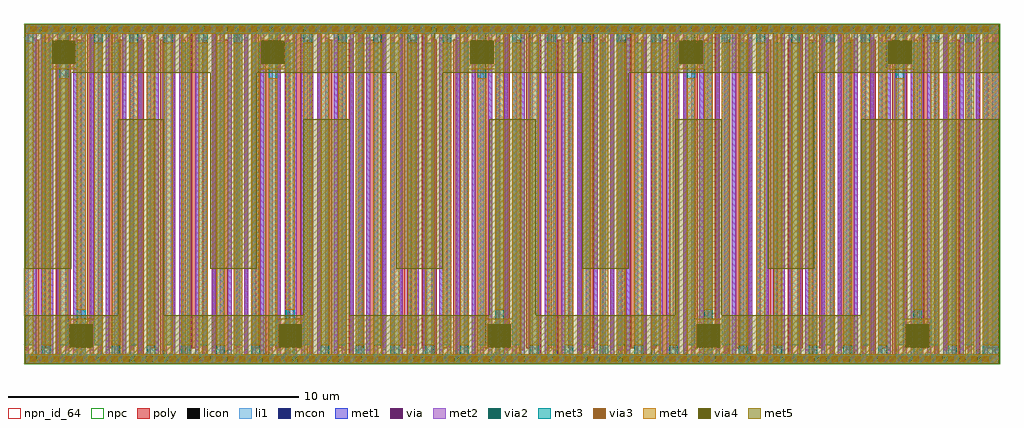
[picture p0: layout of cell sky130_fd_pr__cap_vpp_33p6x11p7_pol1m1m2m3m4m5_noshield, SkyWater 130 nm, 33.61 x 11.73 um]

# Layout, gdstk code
import gdstk
lib = gdstk.Library(unit=1e-6, precision=1e-09)
def R(c, l, rs):  # rectangles x0, y0, x1, y1
    for r in rs: c.add(gdstk.rectangle(r[:2], r[2:], *l))
def A(c, l, x, y, w, h, nx, ny, dx, dy):  # array of equal rectangles
    R(c, l, [(x+i*dx, y+j*dy, x+i*dx+w, y+j*dy+h) for i in range(nx) for j in range(ny)])
poly = (66, 20)
licon = (66, 44)
li1 = (67, 20)
mcon = (67, 44)
met1 = (68, 20)
via = (68, 44)
met2 = (69, 20)
via2 = (69, 44)
met3 = (70, 20)
via3 = (70, 44)
met4 = (71, 20)
via4 = (71, 44)
met5 = (72, 20)
npn_id_64 = (82, 64)
npc = (95, 20)

sky130_fd_pr__cap_vpp_33 = lib.new_cell('sky130_fd_pr__cap_vpp_33p6x11p7_pol1m1m2m3m4m5_noshield')
A(sky130_fd_pr__cap_vpp_33, poly, 0.36, 0.33, 0.15, 10.82, 46, 1, 0.72, 0)
A(sky130_fd_pr__cap_vpp_33, poly, 0, 0.54, 0.15, 10.82, 46, 1, 0.72, 0)
R(sky130_fd_pr__cap_vpp_33, poly, [(0,0,33.57,0.33), (33.12,0.54,33.57,11.36), (0,11.36,33.57,11.69)])
A(sky130_fd_pr__cap_vpp_33, licon, 0.17, 0.08, 0.17, 0.17, 98, 2, 0.34, 11.36)
A(sky130_fd_pr__cap_vpp_33, li1, 0, 0.33, 0.14, 10.89, 60, 1, 0.56, 0)
A(sky130_fd_pr__cap_vpp_33, li1, 0.28, 0.47, 0.14, 10.89, 59, 1, 0.56, 0)
R(sky130_fd_pr__cap_vpp_33, li1, [(0,0,33.57,0.33), (33.32,0.47,33.57,11.36), (0,11.36,33.57,11.69)])
A(sky130_fd_pr__cap_vpp_33, mcon, 0.19, 0.08, 0.17, 0.17, 92, 2, 0.36, 11.36)
A(sky130_fd_pr__cap_vpp_33, met1, 0.28, 0.33, 0.14, 10.89, 59, 1, 0.56, 0)
A(sky130_fd_pr__cap_vpp_33, met1, 0, 0.47, 0.14, 10.89, 60, 1, 0.56, 0)
R(sky130_fd_pr__cap_vpp_33, met1, [(0,0,33.57,0.33), (33.32,0.33,33.57,11.22), (0,11.36,33.57,11.69)])
R(sky130_fd_pr__cap_vpp_33, via, [(0.175,0.09,0.325,0.24), (0.495,0.09,0.645,0.24), (1.235,0.09,1.385,0.24), (1.555,0.09,1.705,0.24), (2.355,0.09,2.505,0.24), (2.675,0.09,2.825,0.24), (3.475,0.09,3.625,0.24), (3.795,0.09,3.945,0.24), (4.595,0.09,4.745,0.24), (4.915,0.09,5.065,0.24), (5.715,0.09,5.865,0.24), (6.035,0.09,6.185,0.24), (6.835,0.09,6.985,0.24), (7.155,0.09,7.305,0.24), (7.955,0.09,8.105,0.24), (8.275,0.09,8.425,0.24), (9.075,0.09,9.225,0.24), (9.395,0.09,9.545,0.24), (10.195,0.09,10.345,0.24), (10.515,0.09,10.665,0.24), (11.315,0.09,11.465,0.24), (11.635,0.09,11.785,0.24), (12.435,0.09,12.585,0.24), (12.755,0.09,12.905,0.24), (13.555,0.09,13.705,0.24), (13.875,0.09,14.025,0.24), (14.675,0.09,14.825,0.24), (14.995,0.09,15.145,0.24), (15.795,0.09,15.945,0.24), (16.115,0.09,16.265,0.24), (16.915,0.09,17.065,0.24), (17.235,0.09,17.385,0.24), (18.035,0.09,18.185,0.24), (18.355,0.09,18.505,0.24), (19.155,0.09,19.305,0.24), (19.475,0.09,19.625,0.24), (20.275,0.09,20.425,0.24), (20.595,0.09,20.745,0.24), (21.395,0.09,21.545,0.24), (21.715,0.09,21.865,0.24), (22.515,0.09,22.665,0.24), (22.835,0.09,22.985,0.24), (23.635,0.09,23.785,0.24), (23.955,0.09,24.105,0.24), (24.755,0.09,24.905,0.24), (25.075,0.09,25.225,0.24), (25.875,0.09,26.025,0.24), (26.195,0.09,26.345,0.24), (26.995,0.09,27.145,0.24), (27.315,0.09,27.465,0.24), (28.115,0.09,28.265,0.24), (28.435,0.09,28.585,0.24), (29.235,0.09,29.385,0.24), (29.555,0.09,29.705,0.24), (30.355,0.09,30.505,0.24), (30.675,0.09,30.825,0.24), (31.475,0.09,31.625,0.24), (31.795,0.09,31.945,0.24), (32.595,0.09,32.745,0.24), (32.915,0.09,33.065,0.24), (0.395,11.45,0.545,11.6), (0.715,11.45,0.865,11.6), (1.515,11.45,1.665,11.6), (1.835,11.45,1.985,11.6), (2.635,11.45,2.785,11.6), (2.955,11.45,3.105,11.6), (3.755,11.45,3.905,11.6), (4.075,11.45,4.225,11.6), (4.875,11.45,5.025,11.6), (5.195,11.45,5.345,11.6), (5.995,11.45,6.145,11.6), (6.315,11.45,6.465,11.6), (7.115,11.45,7.265,11.6), (7.435,11.45,7.585,11.6), (8.235,11.45,8.385,11.6), (8.555,11.45,8.705,11.6), (9.355,11.45,9.505,11.6), (9.675,11.45,9.825,11.6), (10.475,11.45,10.625,11.6), (10.795,11.45,10.945,11.6), (11.595,11.45,11.745,11.6), (11.915,11.45,12.065,11.6), (12.715,11.45,12.865,11.6), (13.035,11.45,13.185,11.6), (13.835,11.45,13.985,11.6), (14.155,11.45,14.305,11.6), (14.955,11.45,15.105,11.6), (15.275,11.45,15.425,11.6), (16.075,11.45,16.225,11.6), (16.395,11.45,16.545,11.6), (17.195,11.45,17.345,11.6), (17.515,11.45,17.665,11.6), (18.315,11.45,18.465,11.6), (18.635,11.45,18.785,11.6), (19.435,11.45,19.585,11.6), (19.755,11.45,19.905,11.6), (20.555,11.45,20.705,11.6), (20.875,11.45,21.025,11.6), (21.675,11.45,21.825,11.6), (21.995,11.45,22.145,11.6), (22.795,11.45,22.945,11.6), (23.115,11.45,23.265,11.6), (23.915,11.45,24.065,11.6), (24.235,11.45,24.385,11.6), (25.035,11.45,25.185,11.6), (25.355,11.45,25.505,11.6), (26.155,11.45,26.305,11.6), (26.475,11.45,26.625,11.6), (27.275,11.45,27.425,11.6), (27.595,11.45,27.745,11.6), (28.395,11.45,28.545,11.6), (28.715,11.45,28.865,11.6), (29.515,11.45,29.665,11.6), (29.835,11.45,29.985,11.6), (30.635,11.45,30.785,11.6), (30.955,11.45,31.105,11.6), (31.755,11.45,31.905,11.6), (32.075,11.45,32.225,11.6)])
A(sky130_fd_pr__cap_vpp_33, met2, 0, 0, 0.7, 0.33, 29, 1, 1.12, 0)
A(sky130_fd_pr__cap_vpp_33, met2, 0.84, 0, 0.14, 0.47, 29, 1, 1.12, 0)
A(sky130_fd_pr__cap_vpp_33, met2, 0, 0.33, 0.14, 10.89, 60, 1, 0.56, 0)
A(sky130_fd_pr__cap_vpp_33, met2, 0.28, 0.47, 0.14, 10.89, 59, 1, 0.56, 0)
A(sky130_fd_pr__cap_vpp_33, met2, 0, 11.22, 0.14, 0.47, 29, 1, 1.12, 0)
A(sky130_fd_pr__cap_vpp_33, met2, 0.28, 11.36, 0.7, 0.33, 29, 1, 1.12, 0)
R(sky130_fd_pr__cap_vpp_33, met2, [(32.48,0,33.57,0.33), (33.32,0.47,33.57,11.36), (32.34,11.36,33.57,11.69)])
A(sky130_fd_pr__cap_vpp_33, via2, 0.25, 0.065, 0.2, 0.2, 30, 1, 1.12, 0)
A(sky130_fd_pr__cap_vpp_33, via2, 0.53, 11.425, 0.2, 0.2, 29, 1, 1.12, 0)
A(sky130_fd_pr__cap_vpp_33, met3, 0.6, 0.33, 0.3, 10.73, 27, 1, 1.2, 0)
A(sky130_fd_pr__cap_vpp_33, met3, 0, 0.63, 0.3, 10.73, 28, 1, 1.2, 0)
R(sky130_fd_pr__cap_vpp_33, met3, [(0,0,33.57,0.33), (33,0.33,33.57,11.06), (0,11.36,33.57,11.69)])
A(sky130_fd_pr__cap_vpp_33, via3, 0.2, 0.065, 0.2, 0.2, 83, 2, 0.4, 11.36)
A(sky130_fd_pr__cap_vpp_33, met4, 1.2, 0.33, 0.3, 9.505, 5, 1, 7.2, 0)
A(sky130_fd_pr__cap_vpp_33, met4, 1.5, 0.33, 0.9, 0.045, 5, 1, 7.2, 0)
A(sky130_fd_pr__cap_vpp_33, met4, 2.4, 0.33, 0.3, 10.73, 5, 1, 1.2, 0)
A(sky130_fd_pr__cap_vpp_33, met4, 9.6, 0.33, 0.3, 10.73, 5, 1, 1.2, 0)
A(sky130_fd_pr__cap_vpp_33, met4, 16.8, 0.33, 0.3, 10.73, 5, 1, 1.2, 0)
A(sky130_fd_pr__cap_vpp_33, met4, 24, 0.33, 0.3, 10.73, 5, 1, 1.2, 0)
A(sky130_fd_pr__cap_vpp_33, met4, 1.36, 0.375, 1.18, 1.18, 5, 1, 7.2, 0)
A(sky130_fd_pr__cap_vpp_33, met4, 3, 0.63, 0.3, 10.73, 5, 1, 1.2, 0)
A(sky130_fd_pr__cap_vpp_33, met4, 10.2, 0.63, 0.3, 10.73, 5, 1, 1.2, 0)
A(sky130_fd_pr__cap_vpp_33, met4, 17.4, 0.63, 0.3, 10.73, 5, 1, 1.2, 0)
A(sky130_fd_pr__cap_vpp_33, met4, 24.6, 0.63, 0.3, 10.73, 5, 1, 1.2, 0)
A(sky130_fd_pr__cap_vpp_33, met4, 1.8, 1.855, 0.3, 9.505, 5, 1, 7.2, 0)
A(sky130_fd_pr__cap_vpp_33, met4, 0.76, 10.135, 1.18, 1.18, 5, 1, 7.2, 0)
A(sky130_fd_pr__cap_vpp_33, met4, 0.9, 11.315, 0.9, 0.045, 5, 1, 7.2, 0)
R(sky130_fd_pr__cap_vpp_33, met4, [(0,0,33.57,0.33), (0,0.33,0.3,11.06), (31.2,0.33,31.5,11.06), (32.4,0.33,32.7,11.06), (0.6,0.63,0.9,11.36), (31.8,0.63,32.1,11.36), (33,0.63,33.57,11.36), (0,11.36,33.57,11.69)])
A(sky130_fd_pr__cap_vpp_33, via4, 1.55, 0.565, 0.8, 0.8, 5, 1, 7.2, 0)
A(sky130_fd_pr__cap_vpp_33, via4, 0.95, 10.325, 0.8, 0.8, 5, 1, 7.2, 0)
A(sky130_fd_pr__cap_vpp_33, met5, 1.24, 0.255, 1.42, 1.42, 5, 1, 7.2, 0)
A(sky130_fd_pr__cap_vpp_33, met5, 3.2, 1.675, 1.6, 6.74, 4, 1, 6.4, 0)
A(sky130_fd_pr__cap_vpp_33, met5, 0, 3.275, 1.6, 6.74, 5, 1, 6.4, 0)
A(sky130_fd_pr__cap_vpp_33, met5, 0.64, 10.015, 1.42, 1.42, 5, 1, 7.2, 0)
R(sky130_fd_pr__cap_vpp_33, met5, [(0,0,33.57,1.675), (28.8,1.675,33.57,8.415), (0,10.015,33.57,11.69)])
R(sky130_fd_pr__cap_vpp_33, npn_id_64, [(0.13,0.21,33.44,11.48)])
R(sky130_fd_pr__cap_vpp_33, npc, [(-0.02,-0.02,33.59,11.71)])

lib.write_gds('sky130_fd_pr__cap_vpp_33p6x11p7_pol1m1m2m3m4m5_noshield.gds')
